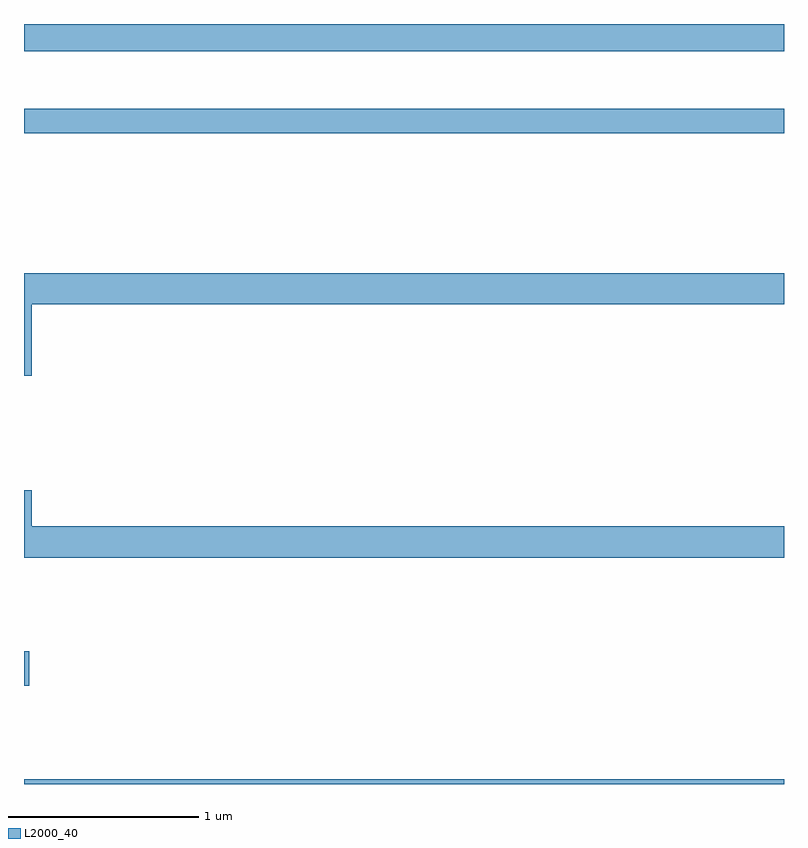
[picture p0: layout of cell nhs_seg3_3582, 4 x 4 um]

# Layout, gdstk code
import gdstk
lib = gdstk.Library(unit=1e-6, precision=1e-09)
def R(c, l, rs):  # rectangles x0, y0, x1, y1
    for r in rs: c.add(gdstk.rectangle(r[:2], r[2:], *l))
def P(c, l, *ps):  # polygons
    for p in ps: c.add(gdstk.Polygon(p, *l))
L2000_40 = (2000, 40)

nhs_seg3_3582 = lib.new_cell('nhs_seg3_3582')
R(nhs_seg3_3582, L2000_40, [(297,690.4,301,690.424), (297,690.917,297.028,691.1), (297,693.826,301,693.955), (297,694.256,301,694.4)])
P(nhs_seg3_3582, L2000_40, [(297.04,692.924),(301,692.924),(301,693.088),(297,693.088),(297,692.55),(297.04,692.55)],
  [(301,691.756),(297.04,691.756),(297.04,691.945),(297,691.945),(297,691.592),(301,691.592)])

lib.write_gds('nhs_seg3_3582.gds')
